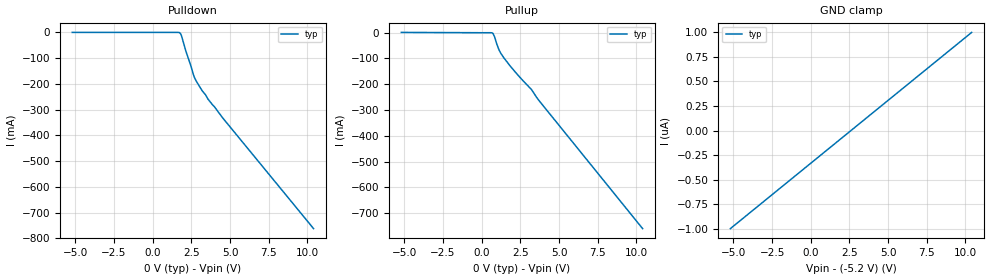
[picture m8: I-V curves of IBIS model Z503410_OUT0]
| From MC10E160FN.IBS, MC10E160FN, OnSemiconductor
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| (C) COPYRIGHT 1993-2000
| MENTOR GRAPHICS CORPORATION
| ICX STANDARD LIBRARY, ICX PROJECT MODELING,
| ICX CUSTOM MODELING, ICX VENDOR MODEL
| ALL RIGHTS RESERVED.
| THE FOLLOWING ARE TRADEMARKS OR SERVICE MARKS OF
| MENTOR GRAPHICS CORPORATION:ICX (R), ICX STANDARD
| LIBRARY(R), ICX PROJECT MODELING(R), ICX CUSTOM
| MODELING(R), qualityIBIS(TM), MODELVIEWER(TM),
| AND MODELEDITOR(TM)
| ALL COPIES OF SOFTWARE, INCLUDING BUT NOT LIMITED TO
| ANY MODIFICATIONS, ENHANCEMENTS OR DERIVATIVE WORKS,
| MUST CONTAIN ALL MENTOR GRAPHICS CORPORATION'S
| NOTICES AND LEGENDS, INCLUDING THOSE EMBEDDED IN
| SOFTWARE AND THOSE AFFIXED TO SOFTWARE MEDIUM
| AND CONTAINER, AS RECEIVED FROM MENTOR GRAPHICS
| CORPORATION.
| Model Application Version 1.89 2/18/99.
[Model] Z503410_OUT0
Model_type Output_ECL
Vref=-2.000V
Rref=50.00ohms
Cref=0.000F
Vmeas=-1.305V
C_comp 8.000pF NA NA
| variable typ   min   max
[Voltage Range] -5.200V NA NA
[POWER Clamp Reference] 0.000V NA NA
[Pullup Reference] 0.000V NA NA
[Pulldown Reference] 0.000V NA NA
[GND Clamp Reference] -5.200V NA NA
[GND Clamp]
-5.2V     -1uA       NA         NA
10.4V     1uA        NA         NA
[Pulldown]
-5.2V     80.56uA    NA         NA
1.626V    62.99uA    NA         NA
1.782V    -3.051mA   NA         NA
1.884V    -17.35mA   NA         NA
2.144V    -72.64mA   NA         NA
2.48V     -132.1mA   NA         NA
2.64V     -165.7mA   NA         NA
2.814V    -189.1mA   NA         NA
3.193V    -226.2mA   NA         NA
3.575V    -259.3mA   NA         NA
4.497V    -330.2mA   NA         NA
10.4V     -762.7mA   NA         NA
[Pullup]
-5.2V     1.227mA    NA         NA
567.7mV   -29.4uA    NA         NA
726.9mV   -2.652mA   NA         NA
830mV     -15.68mA   NA         NA
976.7mV   -44.44mA   NA         NA
1.114V    -66.37mA   NA         NA
1.436V    -97.86mA   NA         NA
2.231V    -157mA     NA         NA
3.223V    -220.9mA   NA         NA
3.693V    -262.5mA   NA         NA
10.4V     -759.9mA   NA         NA
[POWER Clamp]
-5.2V     0A         NA         NA
10.4V     0A         NA         NA
[Ramp]
| variable typ min max
dV/dt_r 595.9m/319.5p NA NA
dV/dt_f 595.9m/436.2p NA NA
R_load = 500.0Ohms
